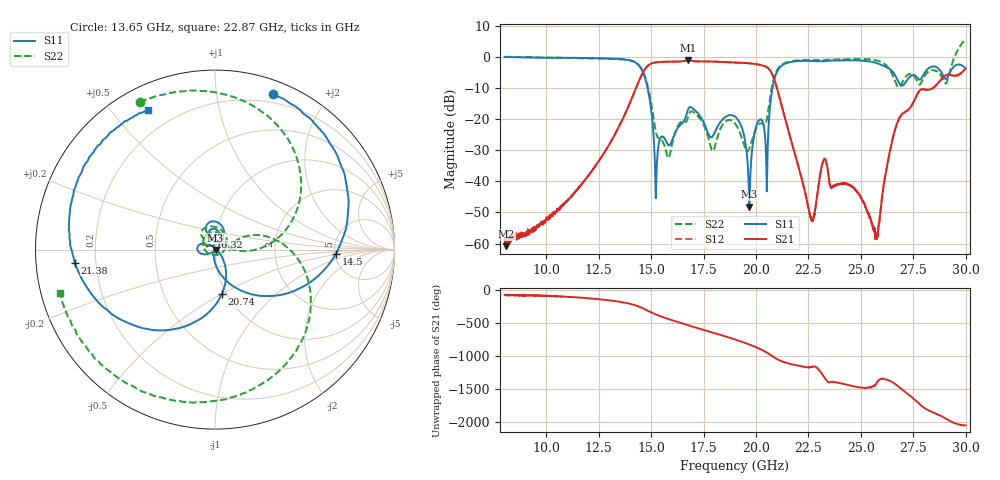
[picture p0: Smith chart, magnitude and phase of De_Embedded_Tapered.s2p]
!Agilent Technologies,N5247A,US51370446,A.10.00.00
!Agilent N5247A: A.10.00.00
!Date: Tuesday, October 16, 2018 05:30:40
!Correction: S11(Full 2 Port(1,2))
!S21(Full 2 Port(1,2))
!S12(Full 2 Port(1,2))
!S22(Full 2 Port(1,2))
!S2P File: Measurements: S11, S21, S12, S22:
# Hz S  RI  R 50
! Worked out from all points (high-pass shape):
!   1999 points, 8.011 GHz to 29.99 GHz, reference 50 ohm
!   highest |S21| = -0.94 dB at 16.77 GHz (marker M1); lowest = -60.9 dB at 8.099 GHz (marker M2)
!   |S21| within 3 dB of the highest: 14.7 GHz to 20.64 GHz (5.944 GHz wide, 33.6 % of centre); 29.95526 GHz to end of sweep
!   lowest |S11| = -48.2 dB at 19.68 GHz (marker M3), VSWR 1.01, Z = 50.3 - j0.256 ohm
!   |S11| at or under -10 dB: 14.83 GHz to 20.78 GHz (5.952 GHz wide, 33.4 % of centre)
!   |S22| runs from -32.4 to 5.4 dB; largest |S21 - S12| = 0.0029
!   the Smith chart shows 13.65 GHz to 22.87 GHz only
!   S11 on the Smith chart (normalised r, x): 13.65 GHz: 0.12, +1.43; 14.5 GHz: 5.12, -0.43; 16.32 GHz: 0.94, +0.14; 20.74 GHz: 0.95, -0.50; 21.38 GHz: 0.12, -0.05; 22.87 GHz: 0.10, +0.62
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8.011e9  -0.8224 -0.5764  0.000424 -0.00114  0.000275 -0.000955  -0.1831 -1.001
8.099e9  -0.836 -0.5532  0.000147 -0.000894  0.00028 -0.00107  -0.2055 -0.9954
1.1674e10  -0.684 0.6971  -0.00365 -0.00816  -0.00367 -0.00827  -0.9294 -0.2469
1.3654e10  0.3242 0.8684  -0.1024 0.00731  -0.1022 0.00707  -0.4186 0.8201
1.4501e10  0.6746 -0.0228  -0.0884 0.4707  -0.0884 0.4698  0.4514 0.5209
1.5337e10  0.00955 0.0338  0.7749 -0.3099  0.7745 -0.31  0.0375 0.0334
1.6316e10  -0.0251 0.0721  -0.5003 -0.6891  -0.5011 -0.6889  -0.0692 0.0459
1.6767e10  -0.0458 0.1378  -0.8839 -0.1534  -0.8835 -0.1534  -0.0762 0.0809
1.7856e10  0.00329 0.0509  0.0437 0.8508  0.0443 0.8517  0.0234 -0.0263
1.9e10  0.00977 0.1105  0.7396 -0.3525  0.7398 -0.3527  0.0399 0.0763
1.9682e10  0.00297 -0.00255  -0.1616 -0.7802  -0.1616 -0.7812  0.0223 0.0255
2.0254e10  -0.097 0.0155  -0.7439 -0.0153  -0.7451 -0.0156  0.0862 -0.00566
2.0738e10  0.0379 -0.2472  -0.00838 0.5669  -0.00907 0.566  0.2985 0.0705
2.1376e10  -0.7815 -0.0727  0.1043 -0.0221  0.1041 -0.022  0.1939 -0.7842
2.2663e10  -0.4622 0.7351  0.000413 -0.00247  0.000362 -0.00241  -0.8145 -0.3859
2.2872e10  -0.373 0.7754  0.00033 -0.00456  0.000197 -0.00453  -0.8655 -0.2412
2.3279e10  -0.2119 0.8381  -0.00855 0.0214  -0.00867 0.0215  -0.8981 0.0391
2.5732e10  0.8078 -0.0512  0.00114 0.00045  0.00118 0.00036  -0.1644 0.8766
2.6326e10  0.3966 -0.5297  0.00597 0.0233  0.00598 0.0233  0.29 0.6061
2.6997e10  -0.2946 0.1876  0.0436 -0.1155  0.0434 -0.1157  -0.1896 -0.3593
2.89e10  0.4439 -0.2712  -0.1884 -0.4259  -0.189 -0.4255  0.0727 0.4486
2.9989e10  0.6574 0.015  -0.274 0.5897  -0.2732 0.5884  -0.5854 1.752
